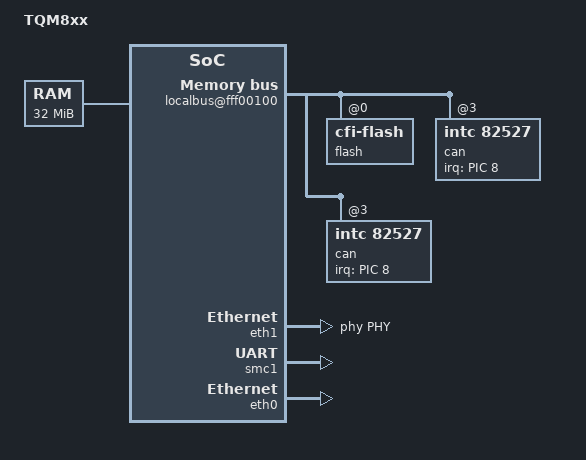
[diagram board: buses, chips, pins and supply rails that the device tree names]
/*
 * TQM8XX Device Tree Source
 *
 * Heiko Schocher <hs@denx.de>
 * 2010 DENX Software Engineering GmbH
 *
 * This program is free software; you can redistribute  it and/or modify it
 * under  the terms of  the GNU General  Public License as published by the
 * Free Software Foundation;  either version 2 of the  License, or (at your
 * option) any later version.
 */

/dts-v1/;

/ {
	model = "TQM8xx";
	compatible = "tqc,tqm8xx";
	#address-cells = <1>;
	#size-cells = <1>;

	aliases {
		ethernet0 = &eth0;
		ethernet1 = &eth1;
		mdio1 = &phy1;
		serial0 = &smc1;
	};

	cpus {
		#address-cells = <1>;
		#size-cells = <0>;

		PowerPC,860@0 {
			device_type = "cpu";
			reg = <0x0>;
			d-cache-line-size = <16>;	// 16 bytes
			i-cache-line-size = <16>;	// 16 bytes
			d-cache-size = <0x1000>;		// L1, 4K
			i-cache-size = <0x1000>;		// L1, 4K
			timebase-frequency = <0>;
			bus-frequency = <0>;
			clock-frequency = <0>;
			interrupts = <15 2>;	// decrementer interrupt
			interrupt-parent = <&PIC>;
		};
	};

	memory {
		device_type = "memory";
		reg = <0x0 0x2000000>;
	};

	localbus@fff00100 {
		compatible = "fsl,mpc860-localbus", "fsl,pq1-localbus";
		#address-cells = <2>;
		#size-cells = <1>;
		reg = <0xfff00100 0x40>;

		ranges = <
			0x0 0x0 0x40000000 0x800000
			0x3 0x0 0xc0000000 0x200
		>;

		flash@0,0 {
			compatible = "cfi-flash";
			reg = <0 0 0x800000>;
			#address-cells = <1>;
			#size-cells = <1>;
			bank-width = <4>;
			device-width = <2>;
		};

		/* Note: CAN support needs be enabled in U-Boot */
		can@3,0 {
			compatible = "intc,82527";
			reg = <3 0x0 0x80>;
			interrupts = <8 1>;
			interrupt-parent = <&PIC>;
			bosch,external-clock-frequency = <16000000>;
			bosch,disconnect-rx1-input;
			bosch,disconnect-tx1-output;
			bosch,iso-low-speed-mux;
			bosch,clock-out-frequency = <16000000>;
		};

		can@3,100 {
			compatible = "intc,82527";
			reg = <3 0x100 0x80>;
			interrupts = <8 1>;
			interrupt-parent = <&PIC>;
			bosch,external-clock-frequency = <16000000>;
			bosch,disconnect-rx1-input;
			bosch,disconnect-tx1-output;
			bosch,iso-low-speed-mux;
		};
	};

	soc@fff00000 {
		#address-cells = <1>;
		#size-cells = <1>;
		device_type = "soc";
		ranges = <0x0 0xfff00000 0x00004000>;

		phy1: mdio@e00 {
			compatible = "fsl,mpc866-fec-mdio", "fsl,pq1-fec-mdio";
			reg = <0xe00 0x188>;
			#address-cells = <1>;
			#size-cells = <0>;
			PHY: ethernet-phy@f {
				reg = <0xf>;
				device_type = "ethernet-phy";
			};
		};

		eth1: ethernet@e00 {
			device_type = "network";
			compatible = "fsl,mpc866-fec-enet",
			             "fsl,pq1-fec-enet";
			reg = <0xe00 0x188>;
			interrupts = <3 1>;
			interrupt-parent = <&PIC>;
			phy-handle = <&PHY>;
			linux,network-index = <1>;
		};

		PIC: pic@0 {
			interrupt-controller;
			#interrupt-cells = <2>;
			reg = <0x0 0x24>;
			compatible = "fsl,mpc860-pic", "fsl,pq1-pic";
		};

		cpm@9c0 {
			#address-cells = <1>;
			#size-cells = <1>;
			compatible = "fsl,mpc860-cpm", "fsl,cpm1";
			ranges;
			reg = <0x9c0 0x40>;
			brg-frequency = <0>;
			interrupts = <0 2>;	// cpm error interrupt
			interrupt-parent = <&CPM_PIC>;

			muram@2000 {
				#address-cells = <1>;
				#size-cells = <1>;
				ranges = <0x0 0x2000 0x2000>;

				data@0 {
					compatible = "fsl,cpm-muram-data";
					reg = <0x0 0x2000>;
				};
			};

			brg@9f0 {
				compatible = "fsl,mpc860-brg",
					     "fsl,cpm1-brg",
					     "fsl,cpm-brg";
				reg = <0x9f0 0x10>;
				clock-frequency = <0>;
			};

			CPM_PIC: pic@930 {
				interrupt-controller;
				#address-cells = <0>;
				#interrupt-cells = <1>;
				interrupts = <5 2 0 2>;
				interrupt-parent = <&PIC>;
				reg = <0x930 0x20>;
				compatible = "fsl,mpc860-cpm-pic",
				             "fsl,cpm1-pic";
			};


			smc1: serial@a80 {
				device_type = "serial";
				compatible = "fsl,mpc860-smc-uart",
				             "fsl,cpm1-smc-uart";
				reg = <0xa80 0x10 0x3e80 0x40>;
				interrupts = <4>;
				interrupt-parent = <&CPM_PIC>;
				fsl,cpm-brg = <1>;
				fsl,cpm-command = <0x90>;
			};

			eth0: ethernet@a00 {
				device_type = "network";
				compatible = "fsl,mpc860-scc-enet",
				             "fsl,cpm1-scc-enet";
				reg = <0xa00 0x18 0x3c00 0x100>;
				interrupts = <30>;
				interrupt-parent = <&CPM_PIC>;
				fsl,cpm-command = <0000>;
				linux,network-index = <0>;
				fixed-link = <0 0 10 0 0>;
			};
		};
	};
};
